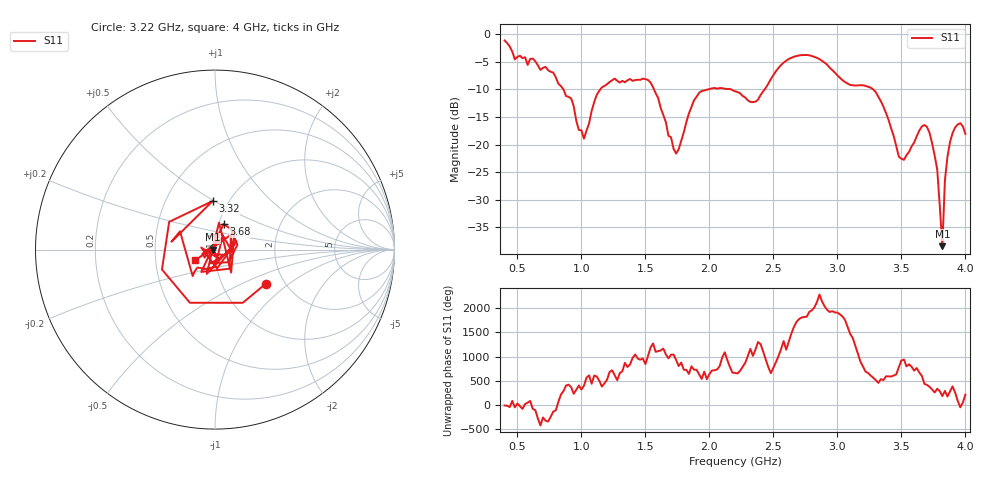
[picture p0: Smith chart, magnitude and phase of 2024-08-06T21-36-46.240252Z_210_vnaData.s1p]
!Created with skrf (http://scikit-rf.org).
# Hz S RI R 50.0
!freq ReS11 ImS11
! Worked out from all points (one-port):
!   181 points, 400 MHz to 4 GHz, reference 50 ohm
!   lowest |S11| = -38.4 dB at 3.82 GHz (marker M1), VSWR 1.02, Z = 48.8 + j0.0165 ohm
!   |S11| at or under -10 dB: 859.8 MHz to 1.148 GHz (288.2 MHz wide, 28.7 % of centre); 1.567 GHz to 1.991 GHz (424 MHz wide, 23.8 % of centre); 3.279 GHz to end of sweep (the widest 3 of 4)
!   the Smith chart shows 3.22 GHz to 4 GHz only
!   S11 on the Smith chart (normalised r, x): 3.22 GHz: 1.60, -0.69; 3.32 GHz: 0.84, +0.49; 3.68 GHz: 1.05, +0.31; 4 GHz: 0.80, -0.10
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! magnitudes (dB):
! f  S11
! 400 MHz  -1.1
! 480 MHz  -4.6
! 620 MHz  -4.4
! 860 MHz  -10.0
! 1.02 GHz  -18.9
! 1.14 GHz  -10.2
! 1.3 GHz  -8.8
! 1.54 GHz  -8.8
! 1.72 GHz  -20.8
! 1.76 GHz  -20.9
! 1.92 GHz  -10.6
! 2.2 GHz  -10.3
! 2.36 GHz  -12.2
! 2.66 GHz  -4.1
! 2.86 GHz  -4.5
! 3.1 GHz  -9.2
! 3.22 GHz  -9.4
! 3.32 GHz  -11.4
! 3.48 GHz  -22.2
! 3.56 GHz  -21.3
! 3.68 GHz  -16.5
! 3.72 GHz  -17.9
! 3.78 GHz  -24.5
! 3.82 GHz  -38.4
! 3.84 GHz  -26.5
! 3.88 GHz  -19.5
! 3.96 GHz  -16.1
! 4 GHz  -18.1
